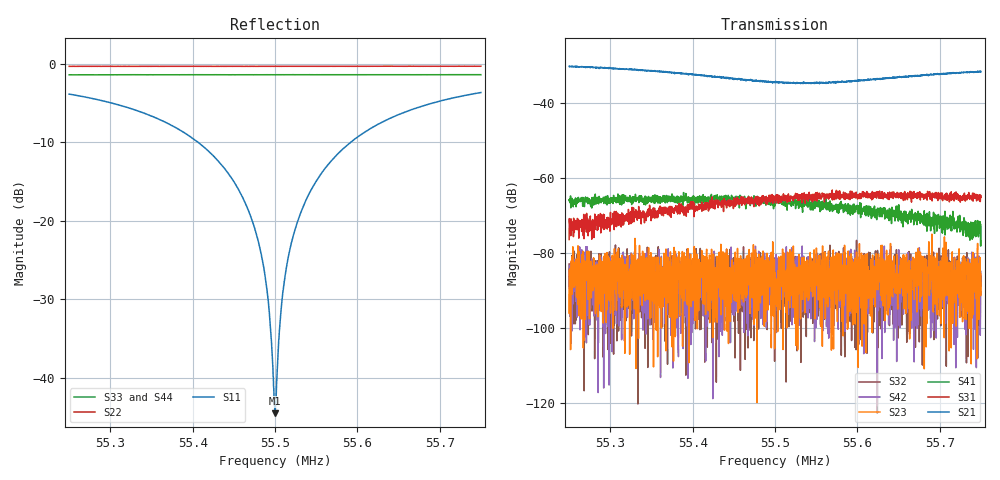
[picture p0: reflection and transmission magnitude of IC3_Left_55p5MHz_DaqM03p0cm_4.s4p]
#  HZ  S  DB  R  50.00
! Rohde & Schwarz Vector Network Analyzer
! Rohde-Schwarz,ZNB8-4Port,1311601044102961,2.82
! Created: UTC 2/13/2019, 9:05:07 AM
! freq[Hz]  db:S11  ang:S11  db:S12  ang:S12  db:S13  ang:S13  db:S14  ang:S14
!  db:S21  ang:S21  db:S22  ang:S22  db:S23  ang:S23  db:S24  ang:S24
!  db:S31  ang:S31  db:S32  ang:S32  db:S33  ang:S33  db:S34  ang:S34
!  db:S41  ang:S41  db:S42  ang:S42  db:S43  ang:S43  db:S44  ang:S44
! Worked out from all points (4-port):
!   2001 points, 55.25 MHz to 55.75 MHz, reference 50 ohm
!   strongest paths, dB at 55.25 MHz, 55.375 MHz, 55.5 MHz, 55.625 MHz, 55.75 MHz:
!     S21: -30.1, -31.8, -34.4, -33.5, -31.6
!     S31: -76.4, -68.3, -65.9, -63.6, -65.1
!     S41: -65.8, -64.2, -67.4, -68.6, -72.4
!     S23: -84.6, -105.1, -93.4, -89.8, -85.6
!     S42: -89.3, -96.9, -89.1, -93.5, -86.2
!     S32: -82.9, -80.7, -91.5, -83.5, -86.4
!   lowest |S11| = -44.5 dB at 55.5003 MHz (marker M1), VSWR 1.01, Z = 50.4 + j0.465 ohm
!   |S11| at or under -10 dB: 55.40672 MHz to 55.59173 MHz (185 kHz wide, 0.333 % of centre)
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5.525e7  -3.85 -152.8  -29.98 66.6  -71.64 -13.7  -66.64 -161.4
         -30.07 66.0  -0.31 94.3  -84.65 -82.9  -88.31 -21.0
         -76.41 -17.4  -82.93 109.9  -1.39 34.9  -82.77 -12.6
         -65.77 -165.9  -89.33 96.7  -84.66 6.1  -1.38 28.5
5.54465e7  -14.44 162.1  -33.17 59.8  -65.72 -46.9  -66.26 157.8
           -33.20 59.5  -0.31 90.8  -86.65 -87.5  -82.64 -93.1
           -66.73 -41.0  -84.06 -48.6  -1.38 32.6  -93.64 -11.8
           -66.73 155.4  -84.27 -0.4  -86.40 105.2  -1.38 26.1
5.548375e7  -24.56 147.2  -34.10 63.2  -64.99 -54.7  -66.46 148.8
            -34.03 61.8  -0.31 90.1  -86.53 92.5  -85.45 163.7
            -66.02 -50.0  -95.54 51.5  -1.38 32.1  -86.55 -55.1
            -65.41 148.4  -92.27 126.8  -93.60 -158.1  -1.37 25.6
5.550025e7  -44.52 51.0  -34.28 65.6  -66.81 -60.9  -66.04 150.5
            -34.47 64.8  -0.31 89.8  -85.23 136.9  -81.43 -21.4
            -64.84 -61.9  -81.25 -31.5  -1.38 31.9  -86.46 108.6
            -66.75 147.5  -88.28 -73.1  -98.23 -112.8  -1.37 25.4
5.5517e7  -24.13 -30.2  -34.44 68.2  -65.33 -57.5  -66.24 137.8
          -34.54 68.4  -0.30 89.5  -88.12 140.7  -94.12 159.1
          -65.95 -60.1  -99.72 -57.8  -1.38 31.7  -83.23 66.5
          -66.59 129.7  -93.95 155.5  -97.89 -87.4  -1.37 25.2
5.555525e7  -14.11 -45.1  -34.29 75.8  -65.33 -66.8  -66.96 130.0
            -34.49 75.8  -0.31 88.8  -92.09 167.7  -89.83 143.8
            -64.83 -70.8  -95.49 85.3  -1.39 31.3  -83.36 -55.1
            -68.49 139.9  -99.14 -61.8  -88.06 -83.4  -1.37 24.7
5.575e7  -3.65 -91.6  -31.48 82.2  -65.15 -107.8  -70.10 103.7
         -31.57 82.8  -0.30 85.2  -85.64 68.9  -83.89 -95.1
         -65.11 -102.6  -86.42 75.2  -1.38 28.9  -92.02 93.6
         -72.41 97.8  -86.20 -94.2  -84.99 173.5  -1.37 22.4
